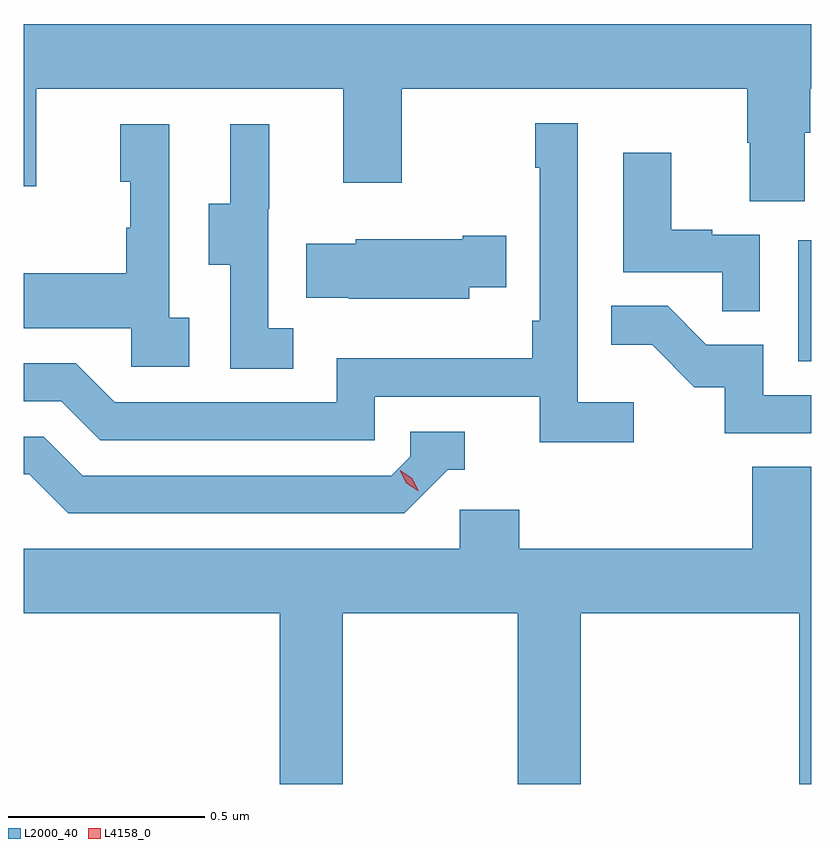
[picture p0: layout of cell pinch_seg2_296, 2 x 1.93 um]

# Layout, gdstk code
import gdstk
lib = gdstk.Library(unit=1e-6, precision=1e-09)
def R(c, l, rs):  # rectangles x0, y0, x1, y1
    for r in rs: c.add(gdstk.rectangle(r[:2], r[2:], *l))
def P(c, l, *ps):  # polygons
    for p in ps: c.add(gdstk.Polygon(p, *l))
L2000_40 = (2000, 40)
L4158_0 = (4158, 0)

pinch_seg2_296 = lib.new_cell('pinch_seg2_296')
R(pinch_seg2_296, L2000_40, [(942.14,637.62,942.173,637.927)])
P(pinch_seg2_296, L2000_40, [(940.173,638.064),(940.205,638.064),(940.205,638.312),(940.985,638.312),(940.985,638.073),(941.133,638.073),(941.133,638.312),(942.01,638.312),(942.01,638.175),(942.017,638.175),(942.017,638.026),(942.157,638.026),(942.157,638.2),(942.17,638.2),(942.17,638.312),(942.173,638.312),(942.173,638.476),(940.173,638.476)],
  [(941.722,637.516),(941.58,637.516),(941.58,638.224),(941.472,638.224),(941.472,638.111),(941.484,638.111),(941.484,637.723),(941.464,637.723),(941.464,637.627),(940.968,637.627),(940.968,637.515),(940.404,637.515),(940.305,637.614),(940.173,637.614),(940.173,637.518),(940.268,637.518),(940.367,637.419),(941.064,637.419),(941.064,637.53),(941.483,637.53),(941.483,637.414),(941.722,637.414)],
  [(940.594,637.73),(940.542,637.73),(940.542,638.221),(940.418,638.221),(940.418,638.076),(940.444,638.076),(940.444,637.958),(940.434,637.958),(940.434,637.843),(940.173,637.843),(940.173,637.703),(940.446,637.703),(940.446,637.605),(940.594,637.605)],
  [(940.858,637.703),(940.794,637.703),(940.794,638.007),(940.796,638.007),(940.796,638.221),(940.697,638.221),(940.697,638.019),(940.643,638.019),(940.643,637.864),(940.698,637.864),(940.698,637.6),(940.858,637.6)],
  [(942.042,637.941),(941.921,637.941),(941.921,637.954),(941.818,637.954),(941.818,638.149),(941.696,638.149),(941.696,637.845),(941.947,637.845),(941.947,637.747),(942.042,637.747)],
  [(941.305,637.808),(941.399,637.808),(941.399,637.938),(941.288,637.938),(941.288,637.93),(941.016,637.93),(941.016,637.918),(940.891,637.918),(940.891,637.781),(940.999,637.781),(940.999,637.778),(941.305,637.778)],
  [(942.173,637.533),(942.051,637.533),(942.051,637.662),(941.906,637.662),(941.808,637.76),(941.665,637.76),(941.665,637.661),(941.769,637.661),(941.876,637.554),(941.953,637.554),(941.953,637.437),(942.173,637.437)],
  [(941.25,637.344),(941.293,637.344),(941.293,637.44),(941.154,637.44),(941.154,637.377),(941.106,637.329),(940.323,637.329),(940.224,637.428),(940.173,637.428),(940.173,637.332),(940.187,637.332),(940.286,637.233),(941.139,637.233)],
  [(940.983,636.98),(941.428,636.98),(941.428,636.546),(941.588,636.546),(941.588,636.98),(942.143,636.98),(942.143,636.546),(942.173,636.546),(942.173,637.352),(942.023,637.352),(942.023,637.144),(941.432,637.144),(941.432,637.242),(941.28,637.242),(941.28,637.144),(940.173,637.144),(940.173,636.98),(940.823,636.98),(940.823,636.546),(940.983,636.546)])
P(pinch_seg2_296, L4158_0, [(941.176,637.29),(941.145,637.31),(941.129,637.342),(941.129,637.343),(941.129,637.343),(941.16,637.323),(941.176,637.29),(941.176,637.29)])

lib.write_gds('pinch_seg2_296.gds')
